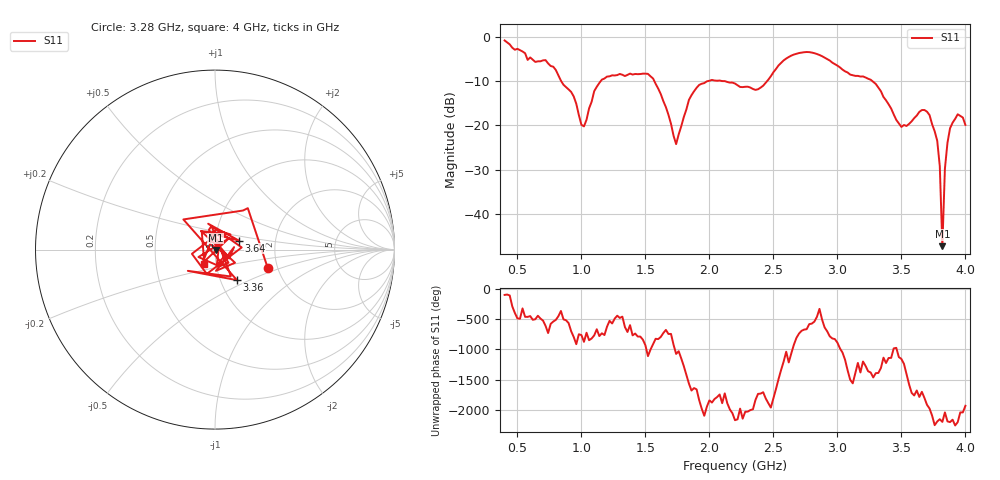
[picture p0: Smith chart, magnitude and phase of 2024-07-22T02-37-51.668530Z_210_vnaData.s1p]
!Created with skrf (http://scikit-rf.org).
# Hz S RI R 50.0
!freq ReS11 ImS11
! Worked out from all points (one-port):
!   181 points, 400 MHz to 4 GHz, reference 50 ohm
!   lowest |S11| = -47.4 dB at 3.82 GHz (marker M1), VSWR 1.01, Z = 50.4 - j0.208 ohm
!   |S11| at or under -10 dB: 1.57 GHz to 1.985 GHz (414.6 MHz wide, 23.3 % of centre); 2.122 GHz to 2.45 GHz (327.9 MHz wide, 14.3 % of centre); 3.274 GHz to end of sweep (the widest 3 of 4)
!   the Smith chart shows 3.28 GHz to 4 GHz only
!   S11 on the Smith chart (normalised r, x): 3.28 GHz: 1.77, -0.40; 3.36 GHz: 1.20, -0.43; 3.64 GHz: 1.30, +0.13; 4 GHz: 0.88, -0.15
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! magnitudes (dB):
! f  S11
! 400 MHz  -0.8
! 720 MHz  -5.2
! 860 MHz  -10.8
! 1.02 GHz  -20.2
! 1.14 GHz  -10.4
! 1.3 GHz  -8.4
! 1.56 GHz  -9.4
! 1.74 GHz  -24.2
! 1.76 GHz  -22.0
! 1.84 GHz  -14.2
! 1.92 GHz  -10.8
! 2.2 GHz  -10.5
! 2.38 GHz  -11.8
! 2.66 GHz  -4.0
! 3.1 GHz  -8.5
! 3.28 GHz  -10.1
! 3.36 GHz  -13.6
! 3.5 GHz  -20.4
! 3.56 GHz  -19.7
! 3.64 GHz  -17.0
! 3.72 GHz  -17.7
! 3.78 GHz  -23.5
! 3.8 GHz  -29.3
! 3.82 GHz  -47.4
! 3.84 GHz  -29.8
! 3.88 GHz  -20.7
! 3.94 GHz  -17.5
! 4 GHz  -19.9
